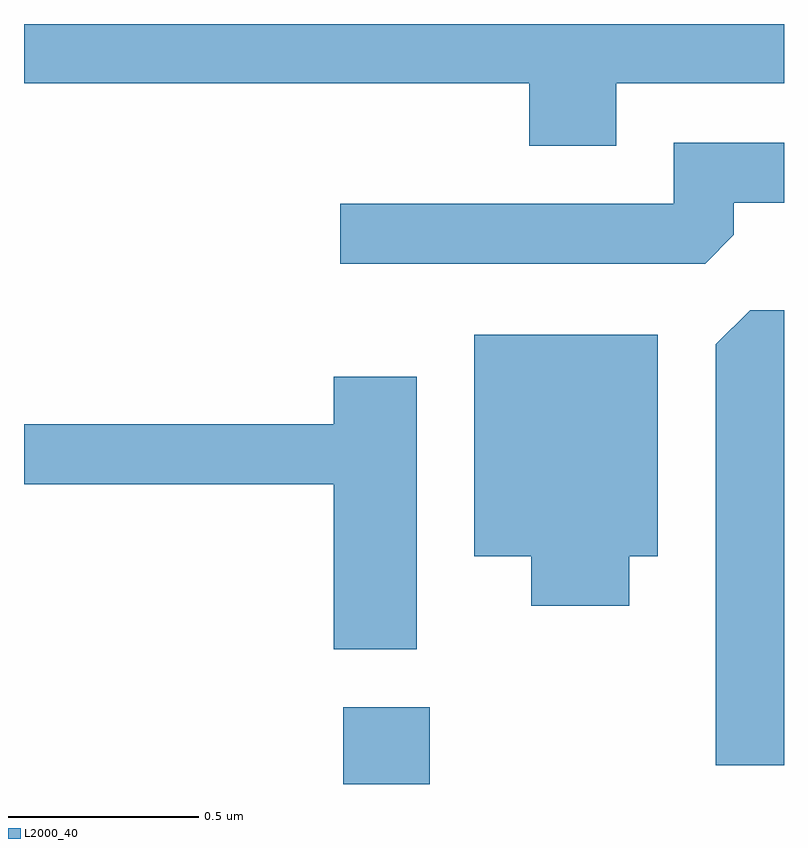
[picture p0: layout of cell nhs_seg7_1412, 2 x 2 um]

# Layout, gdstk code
import gdstk
lib = gdstk.Library(unit=1e-6, precision=1e-09)
def R(c, l, rs):  # rectangles x0, y0, x1, y1
    for r in rs: c.add(gdstk.rectangle(r[:2], r[2:], *l))
def P(c, l, *ps):  # polygons
    for p in ps: c.add(gdstk.Polygon(p, *l))
L2000_40 = (2000, 40)

nhs_seg7_1412 = lib.new_cell('nhs_seg7_1412')
R(nhs_seg7_1412, L2000_40, [(196.451,1710.252,196.679,1710.454)])
P(nhs_seg7_1412, L2000_40, [(197.169,1712.096),(197.611,1712.096),(197.611,1712.252),(195.611,1712.252),(195.611,1712.096),(196.941,1712.096),(196.941,1711.931),(197.169,1711.931)],
  [(197.479,1711.697),(197.479,1711.781),(197.611,1711.781),(197.611,1711.939),(197.321,1711.939),(197.321,1711.779),(196.443,1711.779),(196.443,1711.621),(197.404,1711.621)],
  [(197.611,1711.499),(197.522,1711.499),(197.431,1711.409),(197.431,1710.301),(197.611,1710.301)],
  [(197.204,1710.851),(197.279,1710.851),(197.279,1711.434),(196.796,1711.434),(196.796,1710.851),(196.946,1710.851),(196.946,1710.721),(197.204,1710.721)],
  [(196.644,1711.324),(196.426,1711.324),(196.426,1711.199),(195.611,1711.199),(195.611,1711.041),(196.426,1711.041),(196.426,1710.606),(196.644,1710.606)])

lib.write_gds('nhs_seg7_1412.gds')
